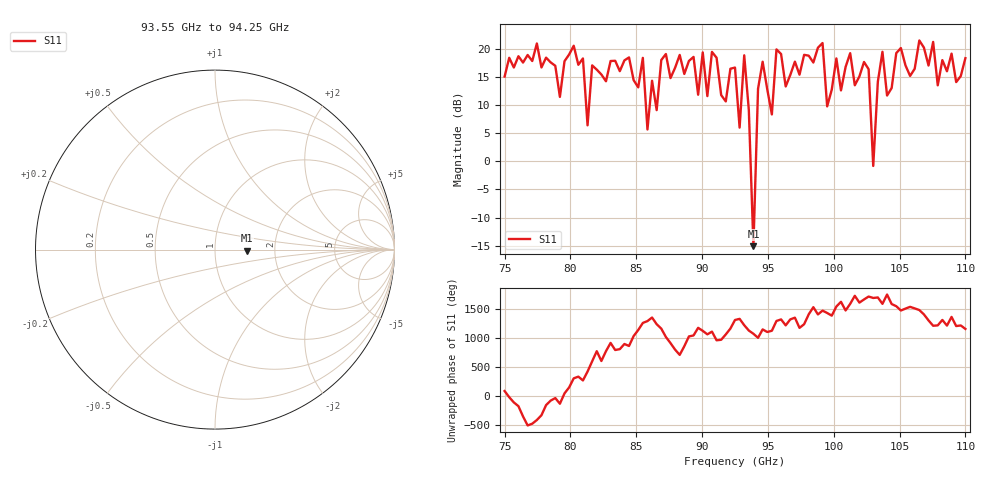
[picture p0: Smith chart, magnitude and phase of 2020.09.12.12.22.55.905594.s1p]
!Created with skrf (http://scikit-rf.org).
# GHz S RI R 50.0
!freq ReS11 ImS11
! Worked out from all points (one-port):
!   101 points, 75 GHz to 110 GHz, reference 50 ohm
!   lowest |S11| = -15.1 dB at 93.9 GHz (marker M1), VSWR 1.43, Z = 71.4 - j0.907 ohm
!   |S11| at or under -10 dB: 93.82648 GHz to 93.96361 GHz (137.1 MHz wide, 0.146 % of centre)
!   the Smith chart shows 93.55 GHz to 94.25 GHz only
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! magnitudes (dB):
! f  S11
! 75 GHz  15.0
! 79.55 GHz  17.8
! 80.95 GHz  18.2
! 81.3 GHz  6.4
! 81.65 GHz  17.0
! 83.75 GHz  16.0
! 85.5 GHz  18.3
! 85.85 GHz  5.6
! 88.3 GHz  18.9
! 92.5 GHz  16.6
! 92.85 GHz  6.0
! 93.2 GHz  18.8
! 93.55 GHz  9.1
! 93.9 GHz  -15.1
! 94.25 GHz  12.9
! 94.6 GHz  17.7
! 95.3 GHz  8.3
! 95.65 GHz  19.8
! 97.05 GHz  17.7
! 99.15 GHz  21.0
! 99.5 GHz  9.7
! 101.2 GHz  19.2
! 102.7 GHz  16.3
! 103 GHz  -0.8
! 103.7 GHz  19.4
! 104 GHz  11.7
! 105.8 GHz  15.1
! 110 GHz  18.3
